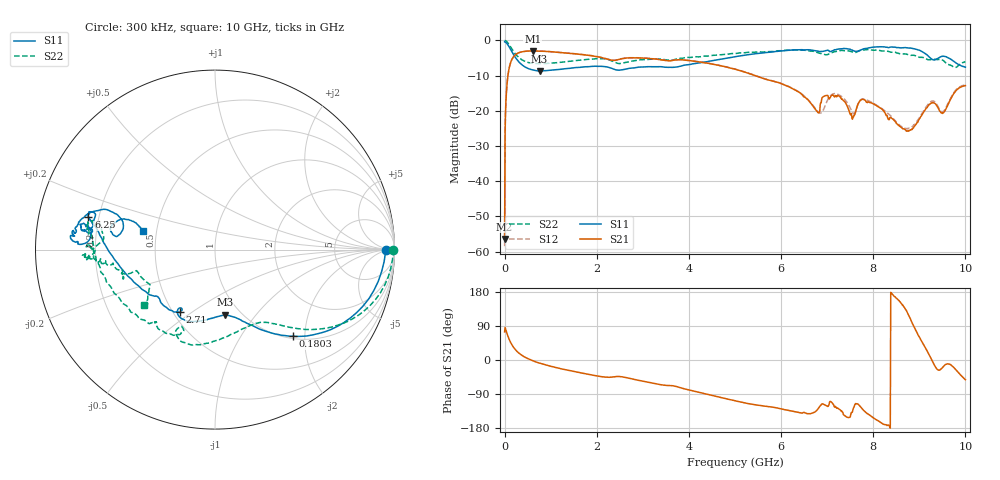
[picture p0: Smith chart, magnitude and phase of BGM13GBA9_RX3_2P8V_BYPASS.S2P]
!Agilent Technologies,E5071C,MY46316587,B.13.01
!Date: Wed Dec 06 10:57:01 2017
!Data & Calibration Information:
!Freq	S11:SOLT2(ON)	S21:SOLT2(ON)	S12:SOLT2(ON)	S22:SOLT2(ON)
!PortZ  Port1:50+j0  Port2:50+j0
!Above PortZ is port z conversion or system Z0 setting when saving the data.
!When reading, reference impedance value at option line is always used.
# Hz S RI R 50
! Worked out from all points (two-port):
!   1001 points, 300 kHz to 10 GHz, reference 50 ohm
!   highest |S21| = -3.03 dB at 610.3 MHz (marker M1); lowest = -56.4 dB at 300 kHz (marker M2)
!   |S21| within 3 dB of the highest: 139.2 MHz to 4.157 GHz (4.018 GHz wide, 187 % of centre)
!   lowest |S11| = -8.7 dB at 760.3 MHz (marker M3), VSWR 2.16, Z = 42.1 - j35.3 ohm
!   |S11| at or under -10 dB: nowhere
!   |S22| runs from -7.7 to -0.1 dB; largest |S21 - S12| = 0.062
!   S11 on the Smith chart (normalised r, x): 300 kHz: 40, -2; 180.3 MHz: 1.04, -1.75; 2.71 GHz: 0.54, -0.45; 6.25 GHz: 0.16, +0.12; 10 GHz: 0.42, +0.11
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300000  0.9519 -0.00272  0.000408 0.00146  -0.000249 0.00117  0.9938 -0.000178
6.02982e7  0.8245 -0.3151  0.1051 0.2487  0.1048 0.2498  0.8947 -0.2775
1.00297e8  0.6809 -0.4285  0.2367 0.3305  0.2359 0.3305  0.7721 -0.3825
1.802946e8  0.435 -0.4832  0.4596 0.332  0.4588 0.3324  0.5579 -0.4442
3.402898e8  0.2074 -0.4226  0.6521 0.1804  0.6519 0.1804  0.3538 -0.4183
6.102817e8  0.0853 -0.3697  0.7053 -0.0234  0.7065 -0.0237  0.2336 -0.4108
7.602772e8  0.0537 -0.3632  0.6926 -0.1014  0.6941 -0.1016  0.1888 -0.4269
1.67025e9  -0.111 -0.4002  0.519 -0.3546  0.5192 -0.3568  -0.0456 -0.5217
2.710219e9  -0.1969 -0.3484  0.3733 -0.4215  0.374 -0.4235  -0.1866 -0.4621
3.3402e9  -0.294 -0.3033  0.2334 -0.4816  0.2336 -0.4825  -0.3116 -0.4446
5.00015e9  -0.5827 -0.0211  -0.1175 -0.371  -0.1183 -0.3724  -0.6392 -0.1027
6.250112e9  -0.7057 0.1811  -0.147 -0.1445  -0.148 -0.1456  -0.7132 0.1343
6.6701e9  -0.6932 0.2102  -0.0942 -0.0773  -0.0957 -0.0792  -0.6838 0.1589
6.860094e9  -0.6763 0.1563  -0.0626 -0.113  -0.0418 -0.0826  -0.6371 0.132
7.230083e9  -0.7404 0.1053  -0.0993 -0.1306  -0.1034 -0.1369  -0.7031 0.0206
7.550074e9  -0.7104 0.1385  -0.0549 -0.0524  -0.0675 -0.0656  -0.679 0.00477
7.780067e9  -0.7521 0.0287  -0.0966 -0.1082  -0.0988 -0.109  -0.7229 -0.0452
8.34005e9  -0.783 0.0761  -0.0739 -0.00973  -0.0894 0.00107  -0.6872 -0.0518
8.800036e9  -0.7596 0.1479  -0.0185 0.0495  -0.0187 0.0538  -0.6094 -0.0652
9.230023e9  -0.5361 0.1858  0.1225 0.0209  0.1301 0.0205  -0.5143 -0.1202
9.520014e9  -0.583 0.1182  0.0888 -0.0283  0.0931 -0.0314  -0.4988 -0.1366
1e10  -0.402 0.1041  0.1398 -0.179  0.1428 -0.1842  -0.3943 -0.3073
